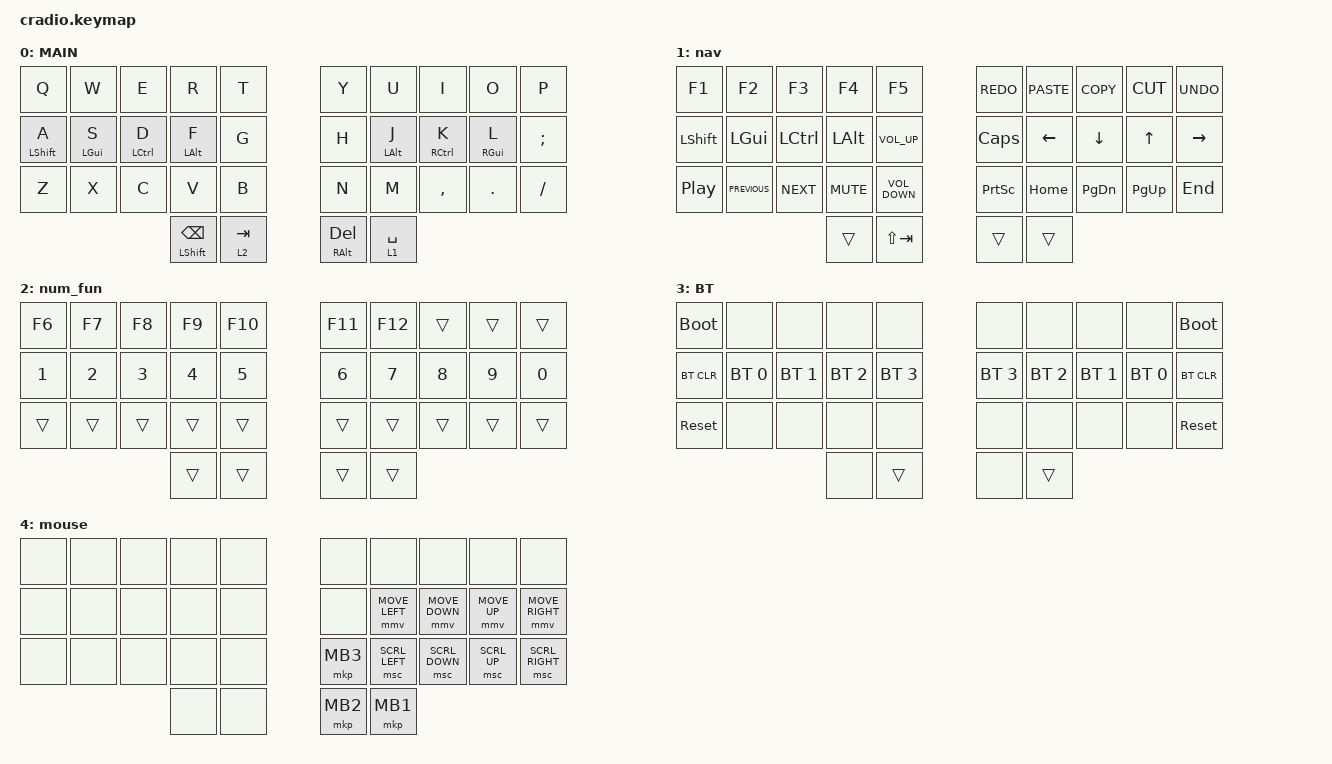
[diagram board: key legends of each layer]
// Copyright (c) 2022 The ZMK Contributors
// SPDX-License-Identifier: MIT

#include <behaviors.dtsi>
#include <dt-bindings/zmk/bt.h>
#include <dt-bindings/zmk/keys.h>
#include <dt-bindings/zmk/pointing.h>

#define DEF 0
#define LWR 1
#define RSE 2
#define ADJ 3

&lt {
    quick-tap-ms = <175>;
    require-prior-idle-ms = <125>;
    flavor = "balanced";
};

&mt {
    quick-tap-ms = <175>;
    flavor = "balanced";
    require-prior-idle-ms = <125>;
};

/ {
    behaviors {
        hm_r: homerow_mod_right {
            compatible = "zmk,behavior-hold-tap";
            #binding-cells = <2>;
            flavor = "balanced";
            tapping-term-ms = <200>;
            quick-tap-ms = <175>;
            require-prior-idle-ms = <125>;
            bindings = <&kp>, <&kp>;

            hold-trigger-key-positions = <0 1 2 3 4 10 11 12 13 14 20 21 22 23 24 30 31>;
            hold-trigger-on-release;
        };
    };

    conditional_layers {
        compatible = "zmk,conditional-layers";

        tri-layer {
            if-layers = <2 1>;
            then-layer = <3>;
        };
    };

    combos {
        compatible = "zmk,combos";

        enter {
            bindings = <&kp ENTER>;
            key-positions = <16 17>;
            require-prior-idle-ms = <200>;
            layers = <0>;
            timeout-ms = <30>;
        };

        escape {
            bindings = <&lt 4 ESCAPE>;
            key-positions = <12 13>;
            require-prior-idle-ms = <200>;
            layers = <0>;
            timeout-ms = <30>;
        };

        apostrophe {
            bindings = <&kp APOSTROPHE>;
            key-positions = <7 6>;
            layers = <0>;
            timeout-ms = <40>;
        };

        grave {
            bindings = <&kp GRAVE>;
            key-positions = <26 27>;
            layers = <0>;
            timeout-ms = <40>;
        };

        sleep {
            bindings = <&kp K_SLEEP>;
            key-positions = <2 3>;
            require-prior-idle-ms = <500>;
            layers = <1>;
        };

        alt_tab {
            bindings = <&kp LA(TAB)>;
            key-positions = <31 13>;
            layers = <0>;
        };
    };

    keymap {
        compatible = "zmk,keymap";

        default_layer {
            display-name = "MAIN";
            bindings = <
&kp Q        &kp W           &kp E               &kp R                     &kp T        &kp Y                 &kp U             &kp I                  &kp O              &kp P
&mt LSHFT A  &mt LEFT_GUI S  &mt LEFT_CONTROL D  &mt LEFT_ALT F            &kp G        &kp H                 &hm_r LEFT_ALT J  &hm_r RIGHT_CONTROL K  &hm_r RIGHT_GUI L  &kp SEMI
&kp Z        &kp X           &kp C               &kp V                     &kp B        &kp N                 &kp M             &kp COMMA              &kp DOT            &kp FSLH
                                                 &mt LEFT_SHIFT BACKSPACE  &lt 2 TAB    &mt RIGHT_ALT DELETE  &lt 1 SPACE
            >;
        };

        nav {
            bindings = <
&kp F1            &kp F2          &kp F3            &kp F4        &kp F5               &kp K_REDO       &kp K_PASTE  &kp K_COPY     &kp K_CUT     &kp K_UNDO
&kp LEFT_SHIFT    &kp LEFT_GUI    &kp LEFT_CONTROL  &kp LEFT_ALT  &kp C_VOLUME_UP      &kp CAPSLOCK     &kp LEFT     &kp DOWN       &kp UP_ARROW  &kp RIGHT
&kp C_PLAY_PAUSE  &kp C_PREVIOUS  &kp C_NEXT        &kp C_MUTE    &kp C_VOLUME_DOWN    &kp PRINTSCREEN  &kp HOME     &kp PAGE_DOWN  &kp PAGE_UP   &kp END
                                                    &trans        &kp LS(TAB)          &trans           &trans
            >;

            label = "nav";
        };

        num_fun {
            bindings = <
&kp F6  &kp F7  &kp F8  &kp F9  &kp F10    &kp F11  &kp F12  &trans  &trans  &trans
&kp N1  &kp N2  &kp N3  &kp N4  &kp N5     &kp N6   &kp N7   &kp N8  &kp N9  &kp N0
&trans  &trans  &trans  &trans  &trans     &trans   &trans   &trans  &trans  &trans
                        &trans  &trans     &trans   &trans
            >;
        };

        bt_layer {
            display-name = "BT";
            bindings = <
&bootloader  &none         &none         &none         &none           &none         &none         &none         &none         &bootloader
&bt BT_CLR   &bt BT_SEL 0  &bt BT_SEL 1  &bt BT_SEL 2  &bt BT_SEL 3    &bt BT_SEL 3  &bt BT_SEL 2  &bt BT_SEL 1  &bt BT_SEL 0  &bt BT_CLR
&sys_reset   &none         &none         &none         &none           &none         &none         &none         &none         &sys_reset
                                         &none         &trans          &none         &trans
            >;
        };

        mouse {
            bindings = <
&none  &none  &none  &none  &none    &none     &none           &none           &none         &none
&none  &none  &none  &none  &none    &none     &mmv MOVE_LEFT  &mmv MOVE_DOWN  &mmv MOVE_UP  &mmv MOVE_RIGHT
&none  &none  &none  &none  &none    &mkp MB3  &msc SCRL_LEFT  &msc SCRL_DOWN  &msc SCRL_UP  &msc SCRL_RIGHT
                     &none  &none    &mkp MB2  &mkp MB1
            >;
        };
    };
};
